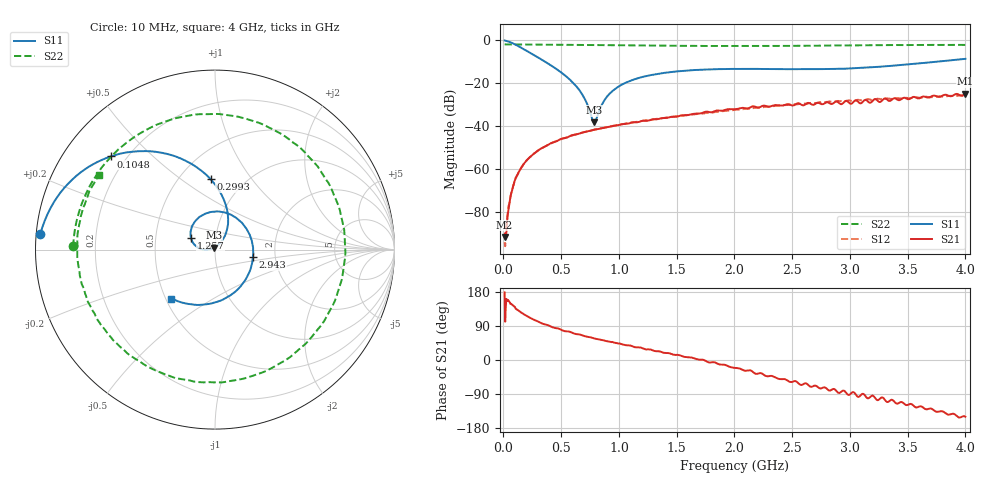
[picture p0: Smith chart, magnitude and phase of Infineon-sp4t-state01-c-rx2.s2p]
! 5/5/2016 5:07:20 PM
! C:\ANRITSUVNA\DATA\INFINEON-SP4T-STATE01-C-RX2.S2P
! CHANNEL.1
! TR.MEASUREMENT
! CORRECTED.DATA
# GHZ S RI R 50.0
! FREQ.GHZ  S11RE  S11IM  S21RE  S21IM  S12RE  S12IM  S22RE  S22IM
!; PortSelection: Port_12
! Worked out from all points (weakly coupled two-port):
!   801 points, 10 MHz to 4 GHz, reference 50 ohm
!   highest |S21| = -24.99 dB at 4 GHz (marker M1); lowest = -91.5 dB at 10 MHz (marker M2)
!   lowest |S11| = -38.3 dB at 788 MHz (marker M3), VSWR 1.02, Z = 49.4 + j1.02 ohm
!   |S11| at or under -10 dB: 357.9 MHz to 3.765 GHz (3.408 GHz wide, 165 % of centre)
!   |S22| runs from -2.8 to -2.0 dB; largest |S21 - S12| = 0.0073
!   S11 on the Smith chart (normalised r, x): 10 MHz: 0.01, +0.05; 104.8 MHz: 0.14, +0.37; 299.3 MHz: 0.70, +0.65; 1.257 GHz: 0.76, +0.10; 2.943 GHz: 1.53, -0.13; 4 GHz: 0.54, -0.34
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0.01  -0.9731 0.0885  -2.66e-05 7e-07  -1.94e-05 -4.1e-06  -0.7933 0.0215
0.039925  -0.8809 0.2901  -9.31e-05 3.67e-05  -0.000103 4.44e-05  -0.7882 0.0524
0.1047625  -0.5812 0.5189  -0.000439 0.000432  -0.000425 0.000429  -0.7765 0.1331
0.18955  -0.2484 0.5282  -0.000699 0.00129  -0.000691 0.00128  -0.7494 0.2353
0.299275  -0.0246 0.3923  -0.000537 0.00265  -0.000528 0.00264  -0.6953 0.359
0.538675  0.0704 0.1285  0.0013 0.00515  0.00125 0.00522  -0.5059 0.5856
0.678325  0.0348 0.0442  0.00289 0.00641  0.00289 0.00635  -0.3624 0.6779
0.7681  0.0015 0.0147  0.00416 0.00685  0.00416 0.00682  -0.2602 0.7189
0.78805  -0.0064 0.0103  0.00452 0.00693  0.00438 0.00701  -0.2371 0.7271
0.8728375  -0.0393 -6.96e-05  0.00574 0.00718  0.00565 0.00728  -0.1341 0.7488
0.94765  -0.0666 0.000311  0.0068 0.00737  0.00686 0.0074  -0.0427 0.7545
1.082313  -0.1066 0.0199  0.00894 0.00721  0.00918 0.00721  0.1242 0.7409
1.256875  -0.1342 0.0654  0.0119 0.00635  0.0122 0.00615  0.3309 0.6649
1.341662  -0.1366 0.092  0.0134 0.00576  0.0139 0.00543  0.4209 0.6085
1.695775  -0.0775 0.1875  0.0196 0.000314  0.0194 -0.000264  0.6886 0.2439
2.005  0.0264 0.2112  0.023 -0.00879  0.0225 -0.00806  0.7079 -0.1615
2.394025  0.1505 0.1492  0.0192 -0.0232  0.021 -0.0212  0.4248 -0.5937
2.673325  0.2016 0.0605  0.0106 -0.0297  0.0146 -0.0314  0.0776 -0.7332
2.94265  0.2111 -0.042  0.00558 -0.034  0.00391 -0.0371  -0.2775 -0.6947
3.336663  0.1447 -0.2022  -0.013 -0.0364  -0.0161 -0.0405  -0.6644 -0.3705
3.690775  -0.0259 -0.3015  -0.0289 -0.0368  -0.0332 -0.033  -0.7667 0.0628
4  -0.2424 -0.273  -0.0486 -0.0284  -0.0458 -0.0216  -0.6481 0.4174
